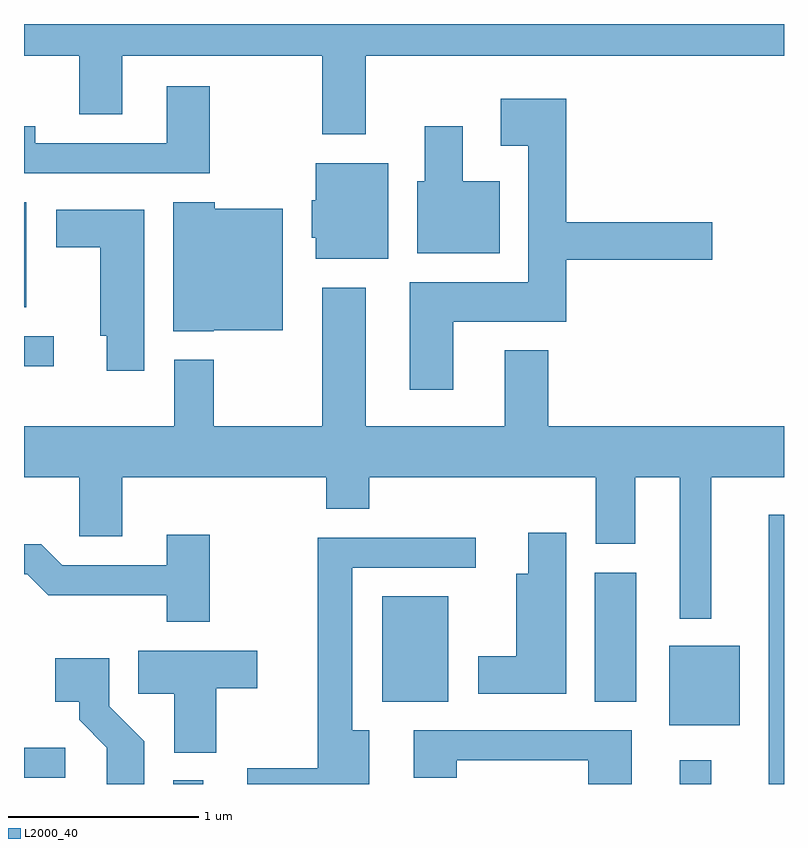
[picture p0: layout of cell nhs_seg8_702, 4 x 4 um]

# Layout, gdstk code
import gdstk
lib = gdstk.Library(unit=1e-6, precision=1e-09)
def R(c, l, rs):  # rectangles x0, y0, x1, y1
    for r in rs: c.add(gdstk.rectangle(r[:2], r[2:], *l))
def P(c, l, *ps):  # polygons
    for p in ps: c.add(gdstk.Polygon(p, *l))
L2000_40 = (2000, 40)

nhs_seg8_702 = lib.new_cell('nhs_seg8_702')
R(nhs_seg8_702, L2000_40, [(206.396,1850.342,206.554,1850.363), (209.061,1850.342,209.229,1850.468), (209.531,1850.342,209.611,1851.759), (205.611,1850.376,205.828,1850.534), (209.006,1850.651,209.379,1851.069), (207.496,1850.776,207.844,1851.329), (208.616,1850.776,208.834,1851.454), (205.611,1852.541,205.768,1852.699), (205.611,1852.851,205.624,1853.404)])
P(nhs_seg8_702, L2000_40, [(207.409,1854.176),(209.611,1854.176),(209.611,1854.342),(205.611,1854.342),(205.611,1854.176),(205.901,1854.176),(205.901,1853.866),(206.129,1853.866),(206.129,1854.176),(207.181,1854.176),(207.181,1853.761),(207.409,1853.761)],
  [(206.589,1854.014),(206.361,1854.014),(206.361,1853.714),(205.669,1853.714),(205.669,1853.804),(205.611,1853.804),(205.611,1853.556),(206.589,1853.556)],
  [(207.869,1852.776),(208.464,1852.776),(208.464,1853.101),(209.234,1853.101),(209.234,1853.299),(208.464,1853.299),(208.464,1853.949),(208.121,1853.949),(208.121,1853.701),(208.266,1853.701),(208.266,1852.984),(207.641,1852.984),(207.641,1852.416),(207.869,1852.416)],
  [(208.114,1853.514),(207.919,1853.514),(207.919,1853.804),(207.721,1853.804),(207.721,1853.514),(207.681,1853.514),(207.681,1853.136),(208.114,1853.136)],
  [(207.529,1853.609),(207.146,1853.609),(207.146,1853.414),(207.126,1853.414),(207.126,1853.216),(207.146,1853.216),(207.146,1853.106),(207.529,1853.106)],
  [(206.61,1852.731),(206.974,1852.731),(206.974,1853.369),(206.614,1853.369),(206.614,1853.404),(206.396,1853.404),(206.396,1852.726),(206.61,1852.726)],
  [(206.244,1853.364),(205.781,1853.364),(205.781,1853.166),(206.011,1853.166),(206.011,1852.701),(206.046,1852.701),(206.046,1852.516),(206.244,1852.516)],
  [(209.229,1851.956),(209.611,1851.956),(209.611,1852.224),(208.369,1852.224),(208.369,1852.624),(208.141,1852.624),(208.141,1852.224),(207.409,1852.224),(207.409,1852.954),(207.181,1852.954),(207.181,1852.224),(206.609,1852.224),(206.609,1852.574),(206.401,1852.574),(206.401,1852.224),(205.611,1852.224),(205.611,1851.956),(205.901,1851.956),(205.901,1851.646),(206.129,1851.646),(206.129,1851.956),(207.201,1851.956),(207.201,1851.791),(207.429,1851.791),(207.429,1851.956),(208.621,1851.956),(208.621,1851.606),(208.829,1851.606),(208.829,1851.956),(209.061,1851.956),(209.061,1851.213),(209.229,1851.213)],
  [(208.464,1851.664),(208.266,1851.664),(208.266,1851.449),(208.201,1851.449),(208.201,1851.014),(208.001,1851.014),(208.001,1850.816),(208.464,1850.816)],
  [(206.589,1851.654),(206.361,1851.654),(206.361,1851.494),(205.812,1851.494),(205.702,1851.604),(205.611,1851.604),(205.611,1851.446),(205.629,1851.446),(205.739,1851.336),(206.361,1851.336),(206.361,1851.196),(206.589,1851.196)],
  [(207.429,1850.624),(207.339,1850.624),(207.339,1851.481),(207.988,1851.481),(207.988,1851.639),(207.156,1851.639),(207.156,1850.424),(206.786,1850.424),(206.786,1850.342),(207.429,1850.342)],
  [(206.624,1850.846),(206.839,1850.846),(206.839,1851.044),(206.211,1851.044),(206.211,1850.816),(206.401,1850.816),(206.401,1850.506),(206.624,1850.506)],
  [(206.244,1850.567),(206.059,1850.752),(206.059,1851.004),(205.776,1851.004),(205.776,1850.776),(205.901,1850.776),(205.901,1850.679),(206.046,1850.534),(206.046,1850.342),(206.244,1850.342)],
  [(208.809,1850.624),(207.661,1850.624),(207.661,1850.376),(207.889,1850.376),(207.889,1850.466),(208.581,1850.466),(208.581,1850.342),(208.809,1850.342)])

lib.write_gds('nhs_seg8_702.gds')
